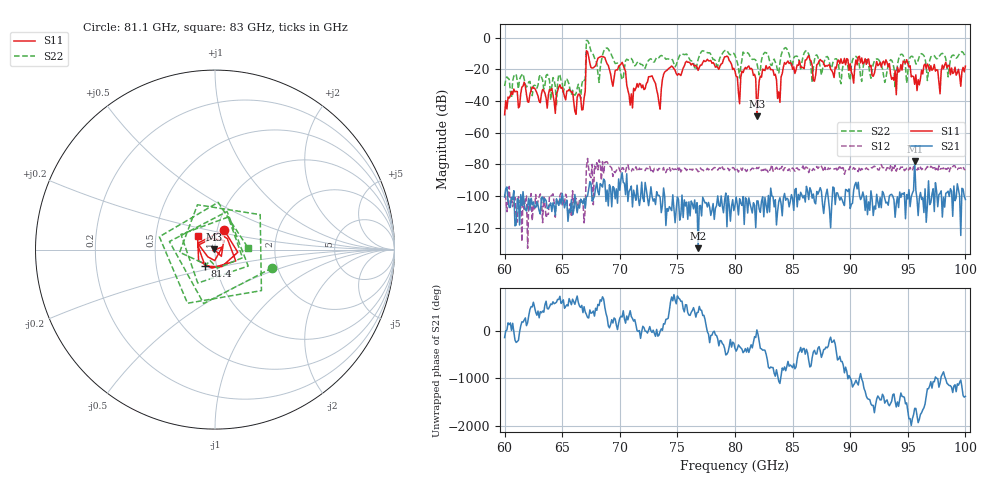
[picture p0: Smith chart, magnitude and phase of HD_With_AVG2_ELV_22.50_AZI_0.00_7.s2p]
! 11/25/2026 10:13:06 AM
! C:\ANRITSUVNA\TEMP\TEMP.S2P
! CHANNEL.1
! TR.MEASUREMENT
! RAW.DATA
# HZ S RI R 50.0
! FREQ.HZ  S11RE  S11IM  S21RE  S21IM  S12RE  S12IM  S22RE  S22IM
!; PortSelection: Port_12
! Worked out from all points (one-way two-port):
!   401 points, 60 GHz to 100 GHz, reference 50 ohm
!   highest |S21| = -78.01 dB at 95.6 GHz (marker M1); lowest = -133.0 dB at 76.8 GHz (marker M2)
!   lowest |S11| = -49.6 dB at 81.9 GHz (marker M3), VSWR 1.01, Z = 49.7 + j0.0732 ohm
!   |S11| at or under -10 dB: start of sweep to 67.09 GHz; 67.23 GHz to end of sweep
!   |S22| runs from -42.8 to -1.7 dB; largest |S21 - S12| = 0.00016
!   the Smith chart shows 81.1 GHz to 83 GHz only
!   S11 on the Smith chart (normalised r, x): 81.1 GHz: 1.08, +0.24; 81.4 GHz: 0.88, -0.17; 83 GHz: 0.82, +0.12
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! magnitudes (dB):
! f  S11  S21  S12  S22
! 60 GHz  -48.6  -100.6  -98.9  -30.5
! 61.6 GHz  -30.6  -97.3  -99.4  -22.8
! 66.7 GHz  -45.6  -103.2  -103.5  -29.5
! 67.3 GHz  -12.1  -95.8  -82.9  -3.2
! 68.4 GHz  -11.8  -93.0  -90.2  -14.7
! 70.3 GHz  -17.5  -91.5  -82.3  -25.5
! 70.9 GHz  -42.5  -95.8  -84.2  -13.5
! 72.7 GHz  -24.4  -94.2  -84.0  -13.3
! 73.4 GHz  -41.2  -99.6  -82.6  -12.6
! 74.3 GHz  -19.2  -106.7  -81.6  -13.5
! 76.8 GHz  -20.6  -133.0  -84.7  -13.7
! 80 GHz  -21.2  -106.1  -83.7  -11.1
! 81.1 GHz  -18.4  -110.8  -83.3  -9.5
! 81.4 GHz  -19.3  -107.6  -83.2  -13.1
! 81.9 GHz  -49.6  -103.1  -82.0  -15.9
! 83 GHz  -18.3  -110.1  -84.0  -14.6
! 83.8 GHz  -34.2  -103.5  -84.0  -22.3
! 84.4 GHz  -16.7  -102.7  -82.2  -6.2
! 86.7 GHz  -17.5  -101.4  -83.9  -28.0
! 93.4 GHz  -16.3  -100.0  -83.7  -15.6
! 95.6 GHz  -29.4  -78.0  -81.9  -13.7
! 100 GHz  -17.9  -102.2  -83.5  -12.1
